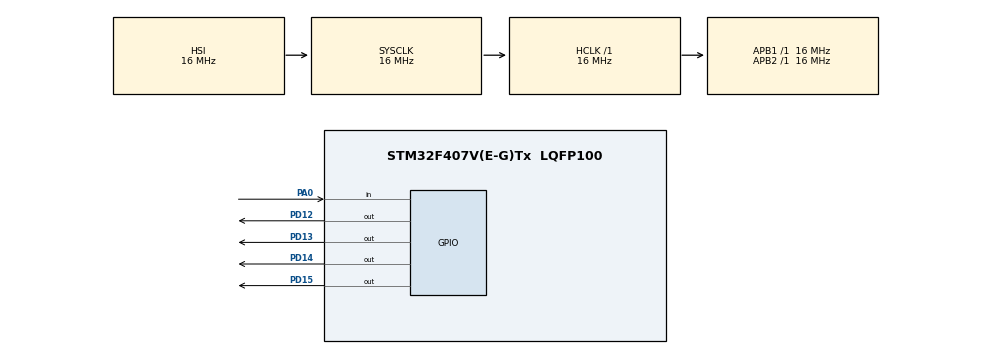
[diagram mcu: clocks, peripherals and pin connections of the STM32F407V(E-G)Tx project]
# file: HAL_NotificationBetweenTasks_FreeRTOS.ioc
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FREERTOS.Tasks01=defaultTask,0,128,StartDefaultTask,Default,NULL,Dynamic,NULL,NULL
Mcu.Family=STM32F4
Mcu.Name=STM32F407V(E-G)Tx
Mcu.Package=LQFP100
NVIC.PriorityGroup=NVIC_PRIORITYGROUP_4
NVIC.TIM7_IRQn=true\:15\:0\:false\:false\:true\:false\:false\:true\:true
NVIC.TimeBase=TIM7_IRQn
NVIC.TimeBaseIP=TIM7
PA0-WKUP.Signal=GPIO_Input
PD12.Signal=GPIO_Output
PD13.Signal=GPIO_Output
PD14.Signal=GPIO_Output
PD15.Signal=GPIO_Output
ProjectManager.HeapSize=0x200
ProjectManager.StackSize=0x400
ProjectManager.TargetToolchain=Makefile
RCC.AHBFreq_Value=16000000
RCC.APB1Freq_Value=16000000
RCC.APB2Freq_Value=16000000
RCC.CortexFreq_Value=16000000
RCC.HSE_VALUE=25000000
RCC.HSI_VALUE=16000000
RCC.LSE_VALUE=32768
RCC.SYSCLKFreq_VALUE=16000000
RCC.VCOOutputFreq_Value=192000000
VP_FREERTOS_VS_CMSIS_V1.Mode=CMSIS_V1
VP_SYS_VS_tim7.Mode=TIM7
board=custom

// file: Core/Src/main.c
/* USER CODE BEGIN Header */
/**
  ******************************************************************************
  * @file           : main.c
  * @brief          : Main program body
  ******************************************************************************
  * @attention
  *
  * Copyright (c) 2026 STMicroelectronics.
  * All rights reserved.
  *
  * This software is licensed under terms that can be found in the LICENSE file
  * in the root directory of this software component.
  * If no LICENSE file comes with this software, it is provided AS-IS.
  *
  ******************************************************************************
  */
/* USER CODE END Header */
#include "main.h"
#include "cmsis_os.h"

osThreadId defaultTaskHandle;
/* USER CODE BEGIN PV */

void LedFlashTaskFunction(void *pvParameters);
void ButtonReadTaskFunction(void *pvParameters);

TaskHandle_t ledFlashTaskHandle = NULL;
TaskHandle_t buttonReadTaskHandle = NULL;

/* USER CODE END PV */

void SystemClock_Config(void);
static void MX_GPIO_Init(void);
void StartDefaultTask(void const * argument);

int main(void)
{

  /* MCU Configuration--------------------------------------------------------*/

  /* Reset of all peripherals, Initializes the Flash interface and the Systick. */
  HAL_Init();

  /* Configure the system clock */
  SystemClock_Config();

  /* Initialize all configured peripherals */
  MX_GPIO_Init();
  /* USER CODE BEGIN 2 */
  SEGGER_SYSVIEW_Conf();

  xTaskCreate(LedFlashTaskFunction, "Led Flash Task", (configMINIMAL_STACK_SIZE * 5), 128, 2, &ledFlashTaskHandle);
  xTaskCreate(ButtonReadTaskFunction, "Read Button Task", (configMINIMAL_STACK_SIZE * 5), 128, 2, &buttonReadTaskHandle);

  /* USER CODE END 2 */

  /* Create the thread(s) */
  /* definition and creation of defaultTask */
  osThreadDef(defaultTask, StartDefaultTask, osPriorityNormal, 0, 128);
  defaultTaskHandle = osThreadCreate(osThread(defaultTask), NULL);

  /* Start scheduler */
  vTaskStartScheduler();

  /* We should never get here as control is now taken by the scheduler */

  /* Infinite loop */
  while (1)
  {

  }
}

void SystemClock_Config(void)
{
  RCC_OscInitTypeDef RCC_OscInitStruct = {0};
  RCC_ClkInitTypeDef RCC_ClkInitStruct = {0};

  /** Configure the main internal regulator output voltage
  */
  __HAL_RCC_PWR_CLK_ENABLE();
  __HAL_PWR_VOLTAGESCALING_CONFIG(PWR_REGULATOR_VOLTAGE_SCALE1);

  /** Initializes the RCC Oscillators according to the specified parameters
  * in the RCC_OscInitTypeDef structure.
  */
  RCC_OscInitStruct.OscillatorType = RCC_OSCILLATORTYPE_HSI;
  RCC_OscInitStruct.HSIState = RCC_HSI_ON;
  RCC_OscInitStruct.HSICalibrationValue = RCC_HSICALIBRATION_DEFAULT;
  RCC_OscInitStruct.PLL.PLLState = RCC_PLL_NONE;
  if (HAL_RCC_OscConfig(&RCC_OscInitStruct) != HAL_OK)
  {
    Error_Handler();
  }

  /** Initializes the CPU, AHB and APB buses clocks
  */
  RCC_ClkInitStruct.ClockType = RCC_CLOCKTYPE_HCLK|RCC_CLOCKTYPE_SYSCLK
                              |RCC_CLOCKTYPE_PCLK1|RCC_CLOCKTYPE_PCLK2;
  RCC_ClkInitStruct.SYSCLKSource = RCC_SYSCLKSOURCE_HSI;
  RCC_ClkInitStruct.AHBCLKDivider = RCC_SYSCLK_DIV1;
  RCC_ClkInitStruct.APB1CLKDivider = RCC_HCLK_DIV1;
  RCC_ClkInitStruct.APB2CLKDivider = RCC_HCLK_DIV1;

  if (HAL_RCC_ClockConfig(&RCC_ClkInitStruct, FLASH_LATENCY_0) != HAL_OK)
  {
    Error_Handler();
  }
}

static void MX_GPIO_Init(void)
{
  GPIO_InitTypeDef GPIO_InitStruct = {0};

  /* GPIO Ports Clock Enable */
  __HAL_RCC_GPIOA_CLK_ENABLE();
  __HAL_RCC_GPIOD_CLK_ENABLE();

  /*Configure GPIO pin Output Level */
  HAL_GPIO_WritePin(GPIOD, GPIO_PIN_12|GPIO_PIN_13|GPIO_PIN_14|GPIO_PIN_15, GPIO_PIN_RESET);

  /*Configure GPIO pin : PA0 */
  GPIO_InitStruct.Pin = GPIO_PIN_0;
  GPIO_InitStruct.Mode = GPIO_MODE_INPUT;
  GPIO_InitStruct.Pull = GPIO_NOPULL;
  HAL_GPIO_Init(GPIOA, &GPIO_InitStruct);

  /*Configure GPIO pins : PD12 PD13 PD14 PD15 */
  GPIO_InitStruct.Pin = GPIO_PIN_12|GPIO_PIN_13|GPIO_PIN_14|GPIO_PIN_15;
  GPIO_InitStruct.Mode = GPIO_MODE_OUTPUT_PP;
  GPIO_InitStruct.Pull = GPIO_NOPULL;
  GPIO_InitStruct.Speed = GPIO_SPEED_FREQ_LOW;
  HAL_GPIO_Init(GPIOD, &GPIO_InitStruct);

}

/* USER CODE BEGIN 4 */

//? button kodu debounce için düzenlenmiştir. asıl kod ünlem ile belirtilmiştir.

void ButtonReadTaskFunction(void *pvParameters){
  // debounce için;
  uint8_t buttonState = GPIO_PIN_RESET;
  uint8_t lastButtonState = GPIO_PIN_RESET;
  uint8_t validatedState = GPIO_PIN_RESET;

  TickType_t lastDebounceTime = 0;
  const TickType_t debounceDelay = pdMS_TO_TICKS(50);
  //---------
  for(;;){
    buttonState = HAL_GPIO_ReadPin(GPIOA, GPIO_PIN_0);
    if (buttonState != lastButtonState) {
      lastDebounceTime = xTaskGetTickCount();
    }
    if ((xTaskGetTickCount() - lastDebounceTime) >= debounceDelay) {

      if (buttonState != validatedState) {
        validatedState = buttonState;

        if (validatedState == GPIO_PIN_SET) {
          xTaskNotify(ledFlashTaskHandle, 0x00, eIncrement);
        }
      }
    }

    lastButtonState = buttonState;
    vTaskDelay(pdMS_TO_TICKS(5));
  }
}

//! aşağıdaki yoruma alınmış fonksiyon yazılması gereken kod sadece xTaskNotify yazılıyor geri kalanı button ! ! !
  // void ButtonReadTaskFunction(void *pvParameters){

  //   for(;;){
  //     if (HAL_GPIO_ReadPin(GPIOA, GPIO_PIN_0) == GPIO_PIN_SET)
  //     {
  //       vTaskDelay(50);
  //       if (HAL_GPIO_ReadPin(GPIOA, GPIO_PIN_0) == GPIO_PIN_SET)
  //       {
  //         xTaskNotify(ledFlashTaskHandle, 0x00, eIncrement);
  //       }
  //     }

  //     vTaskDelay(1);
  //   }
  // }
void LedFlashTaskFunction(void *pvParameters){
  for(;;){

    uint32_t plNotificationValue = 0;
    if (xTaskNotifyWait(0, 0xFFFFFFFF, &plNotificationValue, portMAX_DELAY) == pdTRUE)
    {
      HAL_GPIO_TogglePin(GPIOD, GPIO_PIN_12|GPIO_PIN_13|GPIO_PIN_14|GPIO_PIN_15);
      vTaskDelay(pdMS_TO_TICKS(150));
    }

    vTaskDelay(1);
  }
}
/* USER CODE END 4 */

void StartDefaultTask(void const * argument)
{
  for(;;)
  {
    osDelay(1);
  }
}

void HAL_TIM_PeriodElapsedCallback(TIM_HandleTypeDef *htim)
{
  if (htim->Instance == TIM7)
  {
    HAL_IncTick();
  }
}

void Error_Handler(void)
{
  __disable_irq();
  while (1)
  {
  }
}
